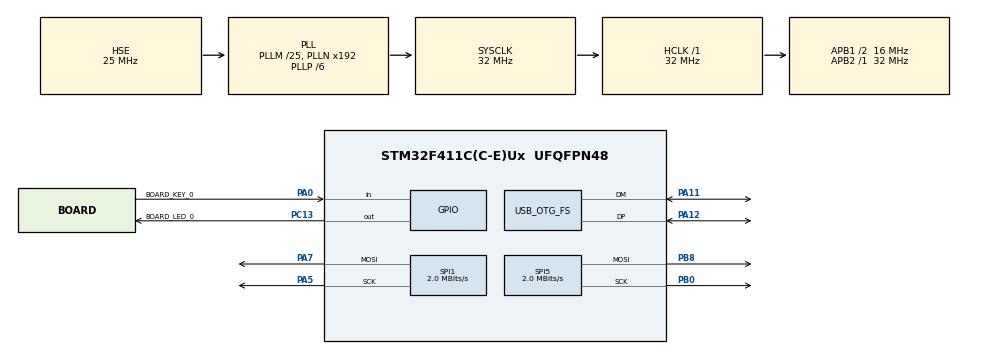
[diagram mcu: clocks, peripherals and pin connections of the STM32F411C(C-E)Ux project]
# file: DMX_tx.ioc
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Dma.Request0=SPI1_TX
Dma.Request1=SPI5_TX
Dma.SPI1_TX.0.Direction=DMA_MEMORY_TO_PERIPH
Dma.SPI1_TX.0.FIFOMode=DMA_FIFOMODE_DISABLE
Dma.SPI1_TX.0.Instance=DMA2_Stream2
Dma.SPI1_TX.0.MemDataAlignment=DMA_MDATAALIGN_BYTE
Dma.SPI1_TX.0.MemInc=DMA_MINC_ENABLE
Dma.SPI1_TX.0.Mode=DMA_NORMAL
Dma.SPI1_TX.0.PeriphDataAlignment=DMA_PDATAALIGN_BYTE
Dma.SPI1_TX.0.PeriphInc=DMA_PINC_DISABLE
Dma.SPI1_TX.0.Priority=DMA_PRIORITY_LOW
Dma.SPI5_TX.1.Direction=DMA_MEMORY_TO_PERIPH
Dma.SPI5_TX.1.FIFOMode=DMA_FIFOMODE_DISABLE
Dma.SPI5_TX.1.Instance=DMA2_Stream4
Dma.SPI5_TX.1.MemDataAlignment=DMA_MDATAALIGN_BYTE
Dma.SPI5_TX.1.MemInc=DMA_MINC_ENABLE
Dma.SPI5_TX.1.Mode=DMA_NORMAL
Dma.SPI5_TX.1.PeriphDataAlignment=DMA_PDATAALIGN_BYTE
Dma.SPI5_TX.1.PeriphInc=DMA_PINC_DISABLE
Dma.SPI5_TX.1.Priority=DMA_PRIORITY_LOW
FREERTOS.BinarySemaphores01=myBinarySem01,Dynamic,NULL,Available;myBinarySem02,Dynamic,NULL,Available
FREERTOS.CountingSemaphores01=myCountingSem01,2,Dynamic,NULL,0
FREERTOS.Events01=myEvent01,Dynamic,NULL;initDoneEvent,Dynamic,NULL
FREERTOS.INCLUDE_uxTaskGetStackHighWaterMark2=1
FREERTOS.Mutexes01=myMutex01,Dynamic,NULL,Available;myMutex02,Dynamic,NULL,Available;dmxLLandChannelMutex,Dynamic,NULL,Available
FREERTOS.Queues01=myQueue01,16,uint16_t,0,Dynamic,NULL,NULL;dmxChannelsQueue,2048,uint32_t,0,Dynamic,NULL,NULL
FREERTOS.Tasks01=defaultTask,24,128,StartDefaultTask,Default,NULL,Dynamic,NULL,NULL;taskHeartbeat,8,128,taskHeartbeatStart,Default,NULL,Dynamic,NULL,NULL;task05,8,128,task05Start,Default,NULL,Dynamic,NULL,NULL;task06,8,128,task06Start,Default,NULL,Dynamic,NULL,NULL;receiveDmxFromPcTask,8,256,StartReceiveDmxFromPcTask,Default,NULL,Dynamic,NULL,NULL;echoDmxToPcTask,8,256,StartEchoDmxToPcTask,Default,NULL,Dynamic,NULL,NULL
FREERTOS.Timers01=myTimer01,Timer01Callback,osTimerPeriodic,Default,NULL,Dynamic,NULL;myTimer02,Timer02Callback,osTimerPeriodic,Default,NULL,Dynamic,NULL
FREERTOS.configCHECK_FOR_STACK_OVERFLOW=2
FREERTOS.configENABLE_BACKWARD_COMPATIBILITY=0
FREERTOS.configENABLE_FPU=1
FREERTOS.configGENERATE_RUN_TIME_STATS=1
FREERTOS.configMAX_TASK_NAME_LEN=56
FREERTOS.configQUEUE_REGISTRY_SIZE=64
FREERTOS.configRECORD_STACK_HIGH_ADDRESS=1
FREERTOS.configTOTAL_HEAP_SIZE=24576
FREERTOS.configUSE_IDLE_HOOK=1
FREERTOS.configUSE_MALLOC_FAILED_HOOK=1
FREERTOS.configUSE_NEWLIB_REENTRANT=1
FREERTOS.configUSE_POSIX_ERRNO=1
FREERTOS.configUSE_STATS_FORMATTING_FUNCTIONS=1
FREERTOS.configUSE_TICKLESS_IDLE=1
FREERTOS.configUSE_TICK_HOOK=1
Mcu.Family=STM32F4
Mcu.Name=STM32F411C(C-E)Ux
Mcu.Package=UFQFPN48
NVIC.DMA2_Stream2_IRQn=true\:5\:0\:false\:false\:true\:true\:false\:true\:true
NVIC.DMA2_Stream4_IRQn=true\:5\:0\:false\:false\:true\:true\:false\:true\:true
NVIC.OTG_FS_IRQn=true\:5\:0\:false\:false\:true\:true\:false\:true\:true
NVIC.PriorityGroup=NVIC_PRIORITYGROUP_4
NVIC.TIM1_TRG_COM_TIM11_IRQn=true\:15\:0\:false\:false\:true\:false\:false\:true\:true
NVIC.TimeBase=TIM1_TRG_COM_TIM11_IRQn
NVIC.TimeBaseIP=TIM11
PA0-WKUP.GPIO_Label=BOARD_KEY_0
PA0-WKUP.GPIO_PuPd=GPIO_PULLUP
PA0-WKUP.Signal=GPIO_Input
PA11.Mode=Device_Only
PA11.Signal=USB_OTG_FS_DM
PA12.Mode=Device_Only
PA12.Signal=USB_OTG_FS_DP
PA13.Mode=Trace_Asynchronous_SW
PA13.Signal=SYS_JTMS-SWDIO
PA14.Mode=Trace_Asynchronous_SW
PA14.Signal=SYS_JTCK-SWCLK
PA5.Mode=TX_Only_Simplex_Unidirect_Master
PA5.Signal=SPI1_SCK
PA7.Mode=TX_Only_Simplex_Unidirect_Master
PA7.Signal=SPI1_MOSI
PB0.Mode=TX_Only_Simplex_Unidirect_Master
PB0.Signal=SPI5_SCK
PB3.Mode=Trace_Asynchronous_SW
PB3.Signal=SYS_JTDO-SWO
PB8.Mode=TX_Only_Simplex_Unidirect_Master
PB8.Signal=SPI5_MOSI
PC13-ANTI_TAMP.GPIO_Label=BOARD_LED_0
PC13-ANTI_TAMP.PinState=GPIO_PIN_SET
PC13-ANTI_TAMP.Signal=GPIO_Output
PC14-OSC32_IN.Mode=LSE-External-Oscillator
PC14-OSC32_IN.Signal=RCC_OSC32_IN
PC15-OSC32_OUT.Mode=LSE-External-Oscillator
PC15-OSC32_OUT.Signal=RCC_OSC32_OUT
PH0\ -\ OSC_IN.Mode=HSE-External-Oscillator
PH0\ -\ OSC_IN.Signal=RCC_OSC_IN
PH1\ -\ OSC_OUT.Mode=HSE-External-Oscillator
PH1\ -\ OSC_OUT.Signal=RCC_OSC_OUT
ProjectManager.HeapSize=0x200
ProjectManager.StackSize=0x400
ProjectManager.TargetToolchain=STM32CubeIDE
RCC.48MHZClocksFreq_Value=48000000
RCC.AHBFreq_Value=32000000
RCC.APB1CLKDivider=RCC_HCLK_DIV2
RCC.APB1Freq_Value=16000000
RCC.APB1TimFreq_Value=32000000
RCC.APB2Freq_Value=32000000
RCC.APB2TimFreq_Value=32000000
RCC.CortexFreq_Value=32000000
RCC.EnbaleCSS=true
RCC.HCLKFreq_Value=32000000
RCC.HSE_VALUE=25000000
RCC.HSI_VALUE=16000000
RCC.PLLM=25
RCC.PLLP=RCC_PLLP_DIV6
RCC.RCC_RTC_Clock_Source=RCC_RTCCLKSOURCE_LSE
RCC.RCC_RTC_Clock_SourceVirtual=RCC_RTCCLKSOURCE_LSE
RCC.SYSCLKFreq_VALUE=32000000
RCC.SYSCLKSource=RCC_SYSCLKSOURCE_PLLCLK
RCC.VCOOutputFreq_Value=192000000
SPI1.BaudRatePrescaler=SPI_BAUDRATEPRESCALER_16
SPI1.CalculateBaudRate=2.0 MBits/s
SPI1.Direction=SPI_DIRECTION_2LINES
SPI1.FirstBit=SPI_FIRSTBIT_LSB
SPI1.Mode=SPI_MODE_MASTER
SPI1.VirtualNSS=VM_NSSHARD
SPI1.VirtualType=VM_MASTER
SPI5.BaudRatePrescaler=SPI_BAUDRATEPRESCALER_16
SPI5.CalculateBaudRate=2.0 MBits/s
SPI5.Direction=SPI_DIRECTION_2LINES
SPI5.FirstBit=SPI_FIRSTBIT_LSB
SPI5.Mode=SPI_MODE_MASTER
SPI5.VirtualType=VM_MASTER
USB_DEVICE.CLASS_NAME_FS=CDC
USB_DEVICE.MANUFACTURER_STRING=FreeMax
USB_DEVICE.PRODUCT_STRING_CDC_FS=DMX test pattern generator
USB_DEVICE.VirtualMode=Cdc
USB_DEVICE.VirtualModeFS=Cdc_FS
USB_OTG_FS.VirtualMode=Device_Only
VP_FREERTOS_VS_CMSIS_V2.Mode=CMSIS_V2
VP_RTC_VS_RTC_Activate.Mode=RTC_Enabled
VP_SYS_VS_tim11.Mode=TIM11
VP_USB_DEVICE_VS_USB_DEVICE_CDC_FS.Mode=CDC_FS
board=custom

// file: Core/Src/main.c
/* USER CODE BEGIN Header */
/**
  ******************************************************************************
  * @file           : main.c
  * @brief          : Main program body
  ******************************************************************************
  * @attention
  *
  * Copyright (c) 2024 STMicroelectronics.
  * All rights reserved.
  *
  * This software is licensed under terms that can be found in the LICENSE file
  * in the root directory of this software component.
  * If no LICENSE file comes with this software, it is provided AS-IS.
  *
  ******************************************************************************
  */
/* USER CODE END Header */
#include "main.h"
#include "cmsis_os.h"
#include "usb_device.h"

/* USER CODE BEGIN Includes */
#include "stdbool.h"
#include "limits.h"
#include "usbd_cdc_if.h"
#include "usbd_cdc.h"
#include "DMX512.h"

#include "BoardSUP.h"
/* USER CODE END Includes */

/* USER CODE BEGIN PTD */

typedef uint32_t MyFlags_t;
const MyFlags_t ev_InitComplete		= (1U << 0);
const MyFlags_t flg_UsbCDCrx_ISR	= (1U << 1);
const MyFlags_t flg_SendToHW		= (1U << 2);
const MyFlags_t flg_ERROR_SPI		= (1U << 3);
const MyFlags_t flg_COMMS_BREAK		= (1U << 4);

/* USER CODE END PTD */

RTC_HandleTypeDef hrtc;

SPI_HandleTypeDef hspi1;
SPI_HandleTypeDef hspi5;
DMA_HandleTypeDef hdma_spi1_tx;
DMA_HandleTypeDef hdma_spi5_tx;

/* Definitions for defaultTask */
osThreadId_t defaultTaskHandle;
const osThreadAttr_t defaultTask_attributes = {
  .name = "defaultTask",
  .stack_size = 128 * 4,
  .priority = (osPriority_t) osPriorityNormal,
};
/* Definitions for taskHeartbeat */
osThreadId_t taskHeartbeatHandle;
const osThreadAttr_t taskHeartbeat_attributes = {
  .name = "taskHeartbeat",
  .stack_size = 128 * 4,
  .priority = (osPriority_t) osPriorityLow,
};
/* Definitions for task05 */
osThreadId_t task05Handle;
const osThreadAttr_t task05_attributes = {
  .name = "task05",
  .stack_size = 128 * 4,
  .priority = (osPriority_t) osPriorityLow,
};
/* Definitions for task06 */
osThreadId_t task06Handle;
const osThreadAttr_t task06_attributes = {
  .name = "task06",
  .stack_size = 128 * 4,
  .priority = (osPriority_t) osPriorityLow,
};
/* Definitions for receiveDmxFromPcTask */
osThreadId_t receiveDmxFromPcTaskHandle;
const osThreadAttr_t receiveDmxFromPcTask_attributes = {
  .name = "receiveDmxFromPcTask",
  .stack_size = 256 * 4,
  .priority = (osPriority_t) osPriorityLow,
};
/* Definitions for echoDmxToPcTask */
osThreadId_t echoDmxToPcTaskHandle;
const osThreadAttr_t echoDmxToPcTask_attributes = {
  .name = "echoDmxToPcTask",
  .stack_size = 256 * 4,
  .priority = (osPriority_t) osPriorityLow,
};
/* Definitions for myQueue01 */
osMessageQueueId_t myQueue01Handle;
const osMessageQueueAttr_t myQueue01_attributes = {
  .name = "myQueue01"
};
/* Definitions for dmxChannelsQueue */
osMessageQueueId_t dmxChannelsQueueHandle;
const osMessageQueueAttr_t dmxChannelsQueue_attributes = {
  .name = "dmxChannelsQueue"
};
/* Definitions for myTimer01 */
osTimerId_t myTimer01Handle;
const osTimerAttr_t myTimer01_attributes = {
  .name = "myTimer01"
};
/* Definitions for myTimer02 */
osTimerId_t myTimer02Handle;
const osTimerAttr_t myTimer02_attributes = {
  .name = "myTimer02"
};
/* Definitions for myMutex01 */
osMutexId_t myMutex01Handle;
const osMutexAttr_t myMutex01_attributes = {
  .name = "myMutex01"
};
/* Definitions for myMutex02 */
osMutexId_t myMutex02Handle;
const osMutexAttr_t myMutex02_attributes = {
  .name = "myMutex02"
};
/* Definitions for dmxLLandChannelMutex */
osMutexId_t dmxLLandChannelMutexHandle;
const osMutexAttr_t dmxLLandChannelMutex_attributes = {
  .name = "dmxLLandChannelMutex"
};
/* Definitions for myBinarySem01 */
osSemaphoreId_t myBinarySem01Handle;
const osSemaphoreAttr_t myBinarySem01_attributes = {
  .name = "myBinarySem01"
};
/* Definitions for myBinarySem02 */
osSemaphoreId_t myBinarySem02Handle;
const osSemaphoreAttr_t myBinarySem02_attributes = {
  .name = "myBinarySem02"
};
/* Definitions for myCountingSem01 */
osSemaphoreId_t myCountingSem01Handle;
const osSemaphoreAttr_t myCountingSem01_attributes = {
  .name = "myCountingSem01"
};
/* Definitions for myEvent01 */
osEventFlagsId_t myEvent01Handle;
const osEventFlagsAttr_t myEvent01_attributes = {
  .name = "myEvent01"
};
/* Definitions for initDoneEvent */
osEventFlagsId_t initDoneEventHandle;
const osEventFlagsAttr_t initDoneEvent_attributes = {
  .name = "initDoneEvent"
};

void SystemClock_Config(void);
static void MX_GPIO_Init(void);
static void MX_DMA_Init(void);
static void MX_RTC_Init(void);
static void MX_SPI1_Init(void);
static void MX_SPI5_Init(void);
void StartDefaultTask(void *argument);
void taskHeartbeatStart(void *argument);
void task05Start(void *argument);
void task06Start(void *argument);
void StartReceiveDmxFromPcTask(void *argument);
void StartEchoDmxToPcTask(void *argument);
void Timer01Callback(void *argument);
void Timer02Callback(void *argument);

/* USER CODE BEGIN 0 */

// ***************************
// ***************************
// SWO - Serial Wire Viewer override for printf(..)
// use like this printf("chan %d \n", itm0)
// ***************************
// ***************************
int ITMi0 = 0;		// must be global vars
int ITMi1 = 0;
char ITMc0[255];
char ITMc1[255];
__attribute__((weak)) int _write(int file, char *ptr, int len) {
  (void)file;
  int DataIdx;

  for (DataIdx = 0; DataIdx < len; DataIdx++) {
    ITM_SendChar(*ptr++);
  }
  return len;
}

/* USER CODE END 0 */

int main(void)
{

  /* MCU Configuration--------------------------------------------------------*/

  /* Reset of all peripherals, Initializes the Flash interface and the Systick. */
  HAL_Init();

  /* Configure the system clock */
  SystemClock_Config();

  /* Initialize all configured peripherals */
  MX_GPIO_Init();
  MX_DMA_Init();
  MX_RTC_Init();
  MX_SPI1_Init();
  MX_SPI5_Init();

  /* Init scheduler */
  osKernelInitialize();
  /* Create the mutex(es) */
  /* creation of myMutex01 */
  myMutex01Handle = osMutexNew(&myMutex01_attributes);

  /* creation of myMutex02 */
  myMutex02Handle = osMutexNew(&myMutex02_attributes);

  /* creation of dmxLLandChannelMutex */
  dmxLLandChannelMutexHandle = osMutexNew(&dmxLLandChannelMutex_attributes);

  /* Create the semaphores(s) */
  /* creation of myBinarySem01 */
  myBinarySem01Handle = osSemaphoreNew(1, 1, &myBinarySem01_attributes);

  /* creation of myBinarySem02 */
  myBinarySem02Handle = osSemaphoreNew(1, 1, &myBinarySem02_attributes);

  /* creation of myCountingSem01 */
  myCountingSem01Handle = osSemaphoreNew(2, 0, &myCountingSem01_attributes);

  /* Create the timer(s) */
  /* creation of myTimer01 */
  myTimer01Handle = osTimerNew(Timer01Callback, osTimerPeriodic, NULL, &myTimer01_attributes);

  /* creation of myTimer02 */
  myTimer02Handle = osTimerNew(Timer02Callback, osTimerPeriodic, NULL, &myTimer02_attributes);

  /* Create the queue(s) */
  /* creation of myQueue01 */
  myQueue01Handle = osMessageQueueNew (16, sizeof(uint16_t), &myQueue01_attributes);

  /* creation of dmxChannelsQueue */
  dmxChannelsQueueHandle = osMessageQueueNew (2048, sizeof(uint32_t), &dmxChannelsQueue_attributes);

  /* Create the thread(s) */
  /* creation of defaultTask */
  defaultTaskHandle = osThreadNew(StartDefaultTask, NULL, &defaultTask_attributes);

  /* creation of taskHeartbeat */
  taskHeartbeatHandle = osThreadNew(taskHeartbeatStart, NULL, &taskHeartbeat_attributes);

  /* creation of task05 */
  task05Handle = osThreadNew(task05Start, NULL, &task05_attributes);

  /* creation of task06 */
  task06Handle = osThreadNew(task06Start, NULL, &task06_attributes);

  /* creation of receiveDmxFromPcTask */
  receiveDmxFromPcTaskHandle = osThreadNew(StartReceiveDmxFromPcTask, NULL, &receiveDmxFromPcTask_attributes);

  /* creation of echoDmxToPcTask */
  echoDmxToPcTaskHandle = osThreadNew(StartEchoDmxToPcTask, NULL, &echoDmxToPcTask_attributes);

  /* creation of myEvent01 */
  myEvent01Handle = osEventFlagsNew(&myEvent01_attributes);

  /* creation of initDoneEvent */
  initDoneEventHandle = osEventFlagsNew(&initDoneEvent_attributes);

  /* Start scheduler */
  osKernelStart();

  /* We should never get here as control is now taken by the scheduler */

  /* Infinite loop */
  while (1)
  {

  }
}

void SystemClock_Config(void)
{
  RCC_OscInitTypeDef RCC_OscInitStruct = {0};
  RCC_ClkInitTypeDef RCC_ClkInitStruct = {0};

  /** Configure the main internal regulator output voltage
  */
  __HAL_RCC_PWR_CLK_ENABLE();
  __HAL_PWR_VOLTAGESCALING_CONFIG(PWR_REGULATOR_VOLTAGE_SCALE1);

  /** Initializes the RCC Oscillators according to the specified parameters
  * in the RCC_OscInitTypeDef structure.
  */
  RCC_OscInitStruct.OscillatorType = RCC_OSCILLATORTYPE_HSE|RCC_OSCILLATORTYPE_LSE;
  RCC_OscInitStruct.HSEState = RCC_HSE_ON;
  RCC_OscInitStruct.LSEState = RCC_LSE_ON;
  RCC_OscInitStruct.PLL.PLLState = RCC_PLL_ON;
  RCC_OscInitStruct.PLL.PLLSource = RCC_PLLSOURCE_HSE;
  RCC_OscInitStruct.PLL.PLLM = 25;
  RCC_OscInitStruct.PLL.PLLN = 192;
  RCC_OscInitStruct.PLL.PLLP = RCC_PLLP_DIV6;
  RCC_OscInitStruct.PLL.PLLQ = 4;
  if (HAL_RCC_OscConfig(&RCC_OscInitStruct) != HAL_OK)
  {
    Error_Handler();
  }

  /** Initializes the CPU, AHB and APB buses clocks
  */
  RCC_ClkInitStruct.ClockType = RCC_CLOCKTYPE_HCLK|RCC_CLOCKTYPE_SYSCLK
                              |RCC_CLOCKTYPE_PCLK1|RCC_CLOCKTYPE_PCLK2;
  RCC_ClkInitStruct.SYSCLKSource = RCC_SYSCLKSOURCE_PLLCLK;
  RCC_ClkInitStruct.AHBCLKDivider = RCC_SYSCLK_DIV1;
  RCC_ClkInitStruct.APB1CLKDivider = RCC_HCLK_DIV2;
  RCC_ClkInitStruct.APB2CLKDivider = RCC_HCLK_DIV1;

  if (HAL_RCC_ClockConfig(&RCC_ClkInitStruct, FLASH_LATENCY_1) != HAL_OK)
  {
    Error_Handler();
  }

  /** Enables the Clock Security System
  */
  HAL_RCC_EnableCSS();
}

static void MX_RTC_Init(void)
{

  /** Initialize RTC Only
  */
  hrtc.Instance = RTC;
  hrtc.Init.HourFormat = RTC_HOURFORMAT_24;
  hrtc.Init.AsynchPrediv = 127;
  hrtc.Init.SynchPrediv = 255;
  hrtc.Init.OutPut = RTC_OUTPUT_DISABLE;
  hrtc.Init.OutPutPolarity = RTC_OUTPUT_POLARITY_HIGH;
  hrtc.Init.OutPutType = RTC_OUTPUT_TYPE_OPENDRAIN;
  if (HAL_RTC_Init(&hrtc) != HAL_OK)
  {
    Error_Handler();
  }

}

static void MX_SPI1_Init(void)
{

  /* SPI1 parameter configuration*/
  hspi1.Instance = SPI1;
  hspi1.Init.Mode = SPI_MODE_MASTER;
  hspi1.Init.Direction = SPI_DIRECTION_2LINES;
  hspi1.Init.DataSize = SPI_DATASIZE_8BIT;
  hspi1.Init.CLKPolarity = SPI_POLARITY_LOW;
  hspi1.Init.CLKPhase = SPI_PHASE_1EDGE;
  hspi1.Init.NSS = SPI_NSS_SOFT;
  hspi1.Init.BaudRatePrescaler = SPI_BAUDRATEPRESCALER_16;
  hspi1.Init.FirstBit = SPI_FIRSTBIT_LSB;
  hspi1.Init.TIMode = SPI_TIMODE_DISABLE;
  hspi1.Init.CRCCalculation = SPI_CRCCALCULATION_DISABLE;
  hspi1.Init.CRCPolynomial = 10;
  if (HAL_SPI_Init(&hspi1) != HAL_OK)
  {
    Error_Handler();
  }

}

static void MX_SPI5_Init(void)
{

  /* SPI5 parameter configuration*/
  hspi5.Instance = SPI5;
  hspi5.Init.Mode = SPI_MODE_MASTER;
  hspi5.Init.Direction = SPI_DIRECTION_2LINES;
  hspi5.Init.DataSize = SPI_DATASIZE_8BIT;
  hspi5.Init.CLKPolarity = SPI_POLARITY_LOW;
  hspi5.Init.CLKPhase = SPI_PHASE_1EDGE;
  hspi5.Init.NSS = SPI_NSS_SOFT;
  hspi5.Init.BaudRatePrescaler = SPI_BAUDRATEPRESCALER_16;
  hspi5.Init.FirstBit = SPI_FIRSTBIT_LSB;
  hspi5.Init.TIMode = SPI_TIMODE_DISABLE;
  hspi5.Init.CRCCalculation = SPI_CRCCALCULATION_DISABLE;
  hspi5.Init.CRCPolynomial = 10;
  if (HAL_SPI_Init(&hspi5) != HAL_OK)
  {
    Error_Handler();
  }

}

static void MX_DMA_Init(void)
{

  /* DMA controller clock enable */
  __HAL_RCC_DMA2_CLK_ENABLE();

  /* DMA interrupt init */
  /* DMA2_Stream2_IRQn interrupt configuration */
  HAL_NVIC_SetPriority(DMA2_Stream2_IRQn, 5, 0);
  HAL_NVIC_EnableIRQ(DMA2_Stream2_IRQn);
  /* DMA2_Stream4_IRQn interrupt configuration */
  HAL_NVIC_SetPriority(DMA2_Stream4_IRQn, 5, 0);
  HAL_NVIC_EnableIRQ(DMA2_Stream4_IRQn);

}

static void MX_GPIO_Init(void)
{
  GPIO_InitTypeDef GPIO_InitStruct = {0};

  /* GPIO Ports Clock Enable */
  __HAL_RCC_GPIOC_CLK_ENABLE();
  __HAL_RCC_GPIOH_CLK_ENABLE();
  __HAL_RCC_GPIOA_CLK_ENABLE();
  __HAL_RCC_GPIOB_CLK_ENABLE();

  /*Configure GPIO pin Output Level */
  HAL_GPIO_WritePin(BOARD_LED_0_GPIO_Port, BOARD_LED_0_Pin, GPIO_PIN_SET);

  /*Configure GPIO pin : BOARD_LED_0_Pin */
  GPIO_InitStruct.Pin = BOARD_LED_0_Pin;
  GPIO_InitStruct.Mode = GPIO_MODE_OUTPUT_PP;
  GPIO_InitStruct.Pull = GPIO_NOPULL;
  GPIO_InitStruct.Speed = GPIO_SPEED_FREQ_LOW;
  HAL_GPIO_Init(BOARD_LED_0_GPIO_Port, &GPIO_InitStruct);

  /*Configure GPIO pin : BOARD_KEY_0_Pin */
  GPIO_InitStruct.Pin = BOARD_KEY_0_Pin;
  GPIO_InitStruct.Mode = GPIO_MODE_INPUT;
  GPIO_InitStruct.Pull = GPIO_PULLUP;
  HAL_GPIO_Init(BOARD_KEY_0_GPIO_Port, &GPIO_InitStruct);

}

/* USER CODE BEGIN 4 */

void USB_CDC_RxHandler_z(uint8_t *Buf, uint32_t Len) {

	// obavesti led diodu da je nesto doslo preko usb-a
	osThreadFlagsSet(taskHeartbeatHandle, flg_UsbCDCrx_ISR);
	// i posalji primljeni karakter u queue
	for (uint32_t i = 0; i < Len; i++) {
		uint8_t rxByte = Buf[i];
		osMessageQueuePut(dmxChannelsQueueHandle, &rxByte, 0U, 0U); 	/* The timeout must be 0 in ISR context */
	}

	// ako hoces usb_cdc local echo
	//	CDC_Transmit_FS(Buf, Len);

}

/* USER CODE END 4 */

void StartDefaultTask(void *argument)
{
  /* init code for USB_DEVICE */
  MX_USB_DEVICE_Init();
  /* USER CODE BEGIN 5 */

  HAL_StatusTypeDef spiStat1 = HAL_OK;
  HAL_StatusTypeDef spiStat5 = HAL_OK;
  clearAllChannels();											// initialize all channels to zero
  osEventFlagsSet(initDoneEventHandle, ev_InitComplete);		// signal all ready
  /* Infinite loop */
  for(;;)
  {
	  GPIO_PinState k0 = HAL_GPIO_ReadPin(BOARD_KEY_0_GPIO_Port, BOARD_KEY_0_Pin);
	  if (k0 == GPIO_PIN_RESET) {
		  // test patterns if BOARD_KEY_0_Pin is pressed
		  setChannel(01,	0b10101010);	// 170,	0xAA
		  setChannel(02,	55);			// 55,	0x37
		  setChannel(03,	200);			// 200,	0xc8
		  setChannel(04,	64);			// 64,	0x40
		  setChannel(07,	0b00000111);	//  7,	0x07
		  setChannel(77,	0b00001011);	// 11,	0x08
		  setChannel(510,	0b00010000);	// 16,	0x10
		  setChannel(512,	0b00010000);	// 16,	0x10
	  }

	  // SPI transmits the dmx sequence repeatedly
	  osMutexAcquire(dmxLLandChannelMutexHandle, portMAX_DELAY);
	  spiStat1 = HAL_SPI_Transmit_DMA(&hspi1, (uint8_t*)getLLPkt(), sizeof(dmxLLPkt.combined));
	  spiStat5 = HAL_SPI_Transmit_DMA(&hspi5, (uint8_t*)getLLPkt(), sizeof(dmxLLPkt.combined));
	  osMutexRelease(dmxLLandChannelMutexHandle);
	  if ( (spiStat1 != HAL_OK) || (spiStat5 != HAL_OK) ) {
		  osThreadFlagsSet(taskHeartbeatHandle, flg_ERROR_SPI);
	  }
	  osDelay(25);		// safest value in all cases
	  /*
	   * Minimum osDelay(..) without triggering above condition != HAL_OK
	   * stm32F411ceu6 @ 32MHz, SPI clock 2MHz, free running (no debug session connected)
	   *
	   * Each of setChannel(..) or setAllChannels(..) takes some time to execute, therefore slowing the overal task execution.
	   * This delay gives SPI peripheral more time to complete transmission started in the previous loop pass.
	   * These are the minimum times measured:
	   *
	   * 	23mS	running with no test patterns (fastest loop execution)
	   * 	23mS	running a few setChannel(adr, val) (takes small amount of time, still fast loop execution)
	   * 	6mS		running clearAllChannels() or setAllChannels(x) (takes most time because touching _every_channel, therefore slowest loop execution)
	   *
	   *  NOTE: HAL discards the request if the SPI peripheral is busy, so repeating the command
	   *  too fast causes no problems, except this task possibly hogging other's time.
	   */

  }
  /* USER CODE END 5 */
}

void taskHeartbeatStart(void *argument)
{
  /* USER CODE BEGIN taskHeartbeatStart */
	char message[] = "DMX č!\n";
	boardLedBlinkCount(2, 50, 50);								// blink at power on
	uint32_t waitLen = 0;
	MyFlags_t rcvdFlags;
  /* Infinite loop */
	for (;;) {
		osDelay(1);

		waitLen = boardKeyPressed() ? 500 : 5000;									// keyPressed()=true -> ubrzani blink

		// cekaj task notifikaciju 5 sekundi ili krace
		rcvdFlags = osThreadFlagsWait(flg_UsbCDCrx_ISR | flg_SendToHW | flg_ERROR_SPI | flg_COMMS_BREAK, osFlagsWaitAny, waitLen);
		if (rcvdFlags == osFlagsErrorTimeout) {
			// isteklo vreme bez ikakve notifikacije -> heartbeat blink
			// heartbeat: 5x(1:29 duty cycle) = 150mS smanjenim intenzitetom
			boardLedBlinkCount(5, 1, 29);
			if ( boardKeyPressed() == true ) {
				// ako je pritisnuto dugme, dodaj i neki string na printout
				CDC_Transmit_FS((uint8_t*) message, strlen(message));
			}

		} else {
			// notifikacija druge vrste
			if (flg_UsbCDCrx_ISR == rcvdFlags)	{
				boardLedBlink(1); 			// character received from PC via USB_CDC
				 printf("%lu: triggered UsbCDCrx_ISR\n", osKernelGetTickCount());
				__NOP();
			};
			if (flg_SendToHW == rcvdFlags)		{
				boardLedBlink(1); 					// (addr,val) pair sent to dmx queue and forwarded to hardware
				printf("%lu: hardware updated\n", osKernelGetTickCount());
				__NOP();
			};
			if (flg_ERROR_SPI == rcvdFlags)	{
				boardLedBlink(1); 					// too quick calling SPI when it was not ready for transmission
				 printf("%lu: called SPI transmit dma before it was not ready to transmit\n", osKernelGetTickCount());
				__NOP();
			};
			if (flg_COMMS_BREAK == rcvdFlags)	{
				boardLedBlinkCount(2, 50, 50); 		// break received, buffers discarded, restarted listening
				 printf("%lu: communication break! Restart listening and blink led a few times.\n", osKernelGetTickCount());
				__NOP();
			};

		}

	}
  /* USER CODE END taskHeartbeatStart */
}

void task05Start(void *argument)
{
  for(;;)
  {
	  osDelay(1);
  }
}

void task06Start(void *argument)
{
  for(;;)
  {
    osDelay(1);
  }
}

void StartReceiveDmxFromPcTask(void *argument)
{
  /* USER CODE BEGIN StartReceiveDmxFromPcTask */

	// ------------------------------
	// single byte arrives into queue
	// ------------------------------
	uint8_t rx_byte;

	// ---------------------------
	// finite state machine logic:
	// - receive 4 times uint8_t into buffer
	// - assemble as { chAddressMSB, chAddressLSB, always_0, chanValue }
	// 		chAddress = [0..512], chanValue = [0..255]
	// - when done, send to hardware adapter
	// - if 0xff received 4 times (impossible in our 'protocol') discard buffer and start listening from the beginning
	// ---------------------------
	typedef enum {
		STATE_WAITING_SYNC,
		STATE_FORWARDING_DMX_DATA
	} RxState_t;
	RxState_t curState = STATE_FORWARDING_DMX_DATA;
	const uint8_t SYNC_SEQUENCE[] = { 0xff, 0xff, 0xff, 0xff };		// raw ffff sequence
	// const uint8_t SYNC_SEQUENCE[] = { 'x', 'x', 'x', 'x' };			// "xxxx" lowercase
	const uint16_t SYNC_SEQUENCE_LEN = sizeof(SYNC_SEQUENCE);
	uint16_t sync_bytes_count = 0;

	// --------------------------
	// receive buffer and counter
	// --------------------------
	uint16_t rx_payload_count = 0;
	const uint16_t RX_PAYLOAD_REQUIRED = 4;
	uint8_t rx_assembly_buffer[RX_PAYLOAD_REQUIRED];

	osStatus_t queStat;
	osEventFlagsWait(initDoneEventHandle, ev_InitComplete, osFlagsWaitAll | osFlagsNoClear, osWaitForever);	// FREEZE!! osFlagsNoClear because other tasks wait for this, too
	/* Infinite loop */
	for(;;)
	{
		osDelay(1);
		queStat = osMessageQueueGet(dmxChannelsQueueHandle, &rx_byte, NULL, osWaitForever);
		if ( queStat == osOK ) {
			switch (curState) {
			case STATE_WAITING_SYNC:
				if (rx_byte == SYNC_SEQUENCE[sync_bytes_count]) {
					sync_bytes_count++;
					if (sync_bytes_count >= SYNC_SEQUENCE_LEN) {
						curState = STATE_FORWARDING_DMX_DATA;
						printf("FSM: Sync complete. Moving to data processing.\n");
						sync_bytes_count = 0;
						rx_payload_count = 0;
					}
				} else {
					sync_bytes_count = 0;
					printf("FSM: Waiting sync. Still nothing valid received.\n");
				}
				break;

			case STATE_FORWARDING_DMX_DATA:
				if (rx_byte == SYNC_SEQUENCE[sync_bytes_count]) {
					sync_bytes_count++;
					if (sync_bytes_count == SYNC_SEQUENCE_LEN) {
						curState = STATE_FORWARDING_DMX_DATA;		// found a complete *new* sync sequence. remain in this state
						sync_bytes_count = 0;						// clear counters and restart listening
						rx_payload_count = 0;
						// no need to clear the buffer. it will be overwritten anyway
						osThreadFlagsSet(taskHeartbeatHandle, flg_COMMS_BREAK);
						printf("FSM: break! Clear payload buffer and start listening again.\n");
					}

				} else {
					sync_bytes_count = 0;							// discard accidental partial sync count if any
					if (rx_payload_count < RX_PAYLOAD_REQUIRED) {
						// FREEZE!! Ovaj if blok mora biti PRVI zbog rx_payload_count++ jer sledeci if zavise od njega
						rx_assembly_buffer[rx_payload_count] = rx_byte;
						rx_payload_count++;
					}
					if (rx_payload_count > RX_PAYLOAD_REQUIRED) {
						// (rx_payload_count > RX_PAYLOAD_REQUIRED) is the only remaining possibility
						// some kind of overrun occured!
						curState = STATE_FORWARDING_DMX_DATA;
						printf("FSM: break! Payload buffer overrun. Expected %d but received %d bytes. Clear and restart listening.\n", RX_PAYLOAD_REQUIRED, rx_payload_count);
						sync_bytes_count = 0;
						rx_payload_count = 0;
					}
					if (rx_payload_count == RX_PAYLOAD_REQUIRED) {
						uint16_t adr = (rx_assembly_buffer[0] << 8) | rx_assembly_buffer[1];
						uint16_t val = (rx_assembly_buffer[2] << 8) | rx_assembly_buffer[3];
						printf("%lu: FSM: valid dmx message forwarded to hardware: setChannel(ch %d, val %d), (hex: 0x%02X, 0x%02X)\n", osKernelGetTickCount(), adr, val, adr, val);
						osThreadFlagsSet(taskHeartbeatHandle, flg_SendToHW);
						uint32_t adrval = (adr << 16) | val;
						xTaskNotify(echoDmxToPcTaskHandle, adrval, eSetValueWithOverwrite);
						setChannel(adr, val);
						rx_payload_count = 0;					// restart buffer from the beginning
					}

				}
				break;

			default:
				curState = STATE_FORWARDING_DMX_DATA;
				sync_bytes_count = 0;
				rx_payload_count = 0;
				printf("%lu: FSM: unknown state! Restart listening in STATE_FORWARDING_DMX_DATA\n", osKernelGetTickCount());
				break;

			}		// end case

		} else {
			// zbog osWaitForever ovo se nikad nece desiti

		}

	}
  /* USER CODE END StartReceiveDmxFromPcTask */
}

void StartEchoDmxToPcTask(void *argument)
{
  /* USER CODE BEGIN StartEchoDmxToPcTask */

	uint8_t *userData_ptr = getAllChannels();
	uint32_t adrval;
	enum {
		BY_byte,
		BY_w16,
		BY_w32,
		BY_str_single_chan,
		BY_w32_16chan,
		BY_str_16chan,
		BY_str_32chan,
	} ORG = BY_w32_16chan;

	osEventFlagsWait(initDoneEventHandle, ev_InitComplete, osFlagsWaitAll | osFlagsNoClear, osWaitForever);			// FREEZE!! osFlagsNoClear because other tasks wait for this, too

  /* Infinite loop */
	for (;;) {
		osDelay(1);
		xTaskNotifyWait(0x00, ULONG_MAX, &adrval, portMAX_DELAY);	// wait for combined ( (adr << 16) | val )
		// printf("USB_CDC echo a: 0x%02lx\n", (unsigned long)adrval);
		switch (ORG) {
			case BY_byte:
				uint8_t buf8[4];
				buf8[0] = (uint8_t)((adrval >> 24) & 0xFF);
				buf8[1] = (uint8_t)((adrval >> 16) & 0xFF);
				buf8[2] = (uint8_t)((adrval >> 8) & 0xFF);
				buf8[3] = (uint8_t)(adrval & 0xFF);
	    		if ( CDC_Transmit_FS( buf8, sizeof(buf8) ) == USBD_BUSY ) {
					// po potrebi signaliziraj nekom neku gresku
					// glupost! ako je USBD_BUSY nikom nista, a ako nije, racunaj da je poslato. bas teska glupost!
					// U sustini, CDC_Transmit_FS neinvazivno pokusava da posalje i vraca USBD_BUSY ako je port zauzet ili USBD_OK ako js poslato
	    		}
				break;

			case BY_w16:
				uint16_t buf16[2];
				buf16[0] = (uint16_t)((adrval >> 16) & 0xFFFF);
				buf16[1] = (uint16_t)(adrval & 0xFFFF);
				if ( CDC_Transmit_FS( (uint8_t*)buf16, sizeof(buf16) ) == USBD_BUSY ) {
					// po potrebi signaliziraj nekom neku gresku
				}
				break;

			case BY_w32:
				if ( CDC_Transmit_FS((uint8_t*)&adrval, sizeof(adrval)) == USBD_BUSY ) {
					// po potrebi signaliziraj nekom neku gresku
				}
				break;

			case BY_w32_16chan:
//				for (int chnn = 0; chnn < 16; ++chnn) {
					if ( CDC_Transmit_FS((uint8_t*)&userData_ptr, 16) == USBD_BUSY ) {
						// po potrebi signaliziraj nekom neku gresku
					}
//				}
				break;

			case BY_str_single_chan:
				char strbuf[64];
				sprintf(strbuf, "ch %lu, val %lu\n", ((adrval >> 16) & 0xFFFF), (adrval & 0xFFFF) );
				if ( CDC_Transmit_FS((uint8_t*)&strbuf, strlen(strbuf)) == USBD_BUSY ) {
					// po potrebi signaliziraj nekom neku gresku
				}
				break;

			case BY_str_16chan:
				int ARRAY_SIZE = 16;
				char strbuf16[64];
				for (int chn = 0; chn < 16; ++chn) {
					char temp_num_str[5];		// Buffer for a single number + null
					sprintf(temp_num_str, "%4u", userData_ptr[chn]);	// Use sprintf to format a single number
					strcat(strbuf16, temp_num_str);		// Concatenate to the main buffer
					if (chn < ARRAY_SIZE - 1) {
						strcat(strbuf16, ",");				// Add a comma and space if it's not the last element
					}
				}
				strcat(strbuf16, "\r\n");					// add newline at the end
				if ( CDC_Transmit_FS( (uint8_t*)strbuf16, strlen(strbuf16))  == USBD_BUSY ) {
					// po potrebi signaliziraj nekom neku gresku
				}
				break;

			default:
				// greska. sta sad?
				break;
		}

	}
  /* USER CODE END StartEchoDmxToPcTask */
}

/* Timer01Callback function */
void Timer01Callback(void *argument)
{
}

/* Timer02Callback function */
void Timer02Callback(void *argument)
{
}

void HAL_TIM_PeriodElapsedCallback(TIM_HandleTypeDef *htim)
{
  if (htim->Instance == TIM11)
  {
    HAL_IncTick();
  }
}

void Error_Handler(void)
{
  __disable_irq();
  while (1)
  {
  }
}

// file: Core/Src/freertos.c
/* USER CODE BEGIN Header */
/**
  ******************************************************************************
  * File Name          : freertos.c
  * Description        : Code for freertos applications
  ******************************************************************************
  * @attention
  *
  * Copyright (c) 2024 STMicroelectronics.
  * All rights reserved.
  *
  * This software is licensed under terms that can be found in the LICENSE file
  * in the root directory of this software component.
  * If no LICENSE file comes with this software, it is provided AS-IS.
  *
  ******************************************************************************
  */
/* USER CODE END Header */

#include "FreeRTOS.h"
#include "task.h"
#include "main.h"

/* Hook prototypes */
void configureTimerForRunTimeStats(void);
unsigned long getRunTimeCounterValue(void);
void vApplicationIdleHook(void);
void vApplicationTickHook(void);
void vApplicationStackOverflowHook(TaskHandle_t xTask, signed char *pcTaskName);
void vApplicationMallocFailedHook(void);

/* USER CODE BEGIN 1 */
/* Functions needed when configGENERATE_RUN_TIME_STATS is on */
__weak void configureTimerForRunTimeStats(void)
{
	CoreDebug->DEMCR |= CoreDebug_DEMCR_TRCENA_Msk;
	DWT->CTRL |= 1;
	DWT->CYCCNT = 0;
}

__weak unsigned long getRunTimeCounterValue(void)
{
	return DWT->CYCCNT;
}
/* USER CODE END 1 */

/* USER CODE BEGIN 2 */
void vApplicationIdleHook( void )
{
   /* vApplicationIdleHook() will only be called if configUSE_IDLE_HOOK is set
   to 1 in FreeRTOSConfig.h. It will be called on each iteration of the idle
   task. It is essential that code added to this hook function never attempts
   to block in any way (for example, call xQueueReceive() with a block time
   specified, or call vTaskDelay()). If the application makes use of the
   vTaskDelete() API function (as this demo application does) then it is also
   important that vApplicationIdleHook() is permitted to return to its calling
   function, because it is the responsibility of the idle task to clean up
   memory allocated by the kernel to any task that has since been deleted. */
}
/* USER CODE END 2 */

/* USER CODE BEGIN 3 */
void vApplicationTickHook( void )
{
   /* This function will be called by each tick interrupt if
   configUSE_TICK_HOOK is set to 1 in FreeRTOSConfig.h. User code can be
   added here, but the tick hook is called from an interrupt context, so
   code must not attempt to block, and only the interrupt safe FreeRTOS API
   functions can be used (those that end in FromISR()). */
}
/* USER CODE END 3 */

/* USER CODE BEGIN 4 */
void vApplicationStackOverflowHook(TaskHandle_t xTask, signed char *pcTaskName)
{
   /* Run time stack overflow checking is performed if
   configCHECK_FOR_STACK_OVERFLOW is defined to 1 or 2. This hook function is
   called if a stack overflow is detected. */
}
/* USER CODE END 4 */

/* USER CODE BEGIN 5 */
void vApplicationMallocFailedHook(void)
{
   /* vApplicationMallocFailedHook() will only be called if
   configUSE_MALLOC_FAILED_HOOK is set to 1 in FreeRTOSConfig.h. It is a hook
   function that will get called if a call to pvPortMalloc() fails.
   pvPortMalloc() is called internally by the kernel whenever a task, queue,
   timer or semaphore is created. It is also called by various parts of the
   demo application. If heap_1.c or heap_2.c are used, then the size of the
   heap available to pvPortMalloc() is defined by configTOTAL_HEAP_SIZE in
   FreeRTOSConfig.h, and the xPortGetFreeHeapSize() API function can be used
   to query the size of free heap space that remains (although it does not
   provide information on how the remaining heap might be fragmented). */
}
/* USER CODE END 5 */

/* USER CODE BEGIN PREPOSTSLEEP */
__weak void PreSleepProcessing(uint32_t ulExpectedIdleTime)
{
/* place for user code */
}

__weak void PostSleepProcessing(uint32_t ulExpectedIdleTime)
{
/* place for user code */
}
/* USER CODE END PREPOSTSLEEP */
